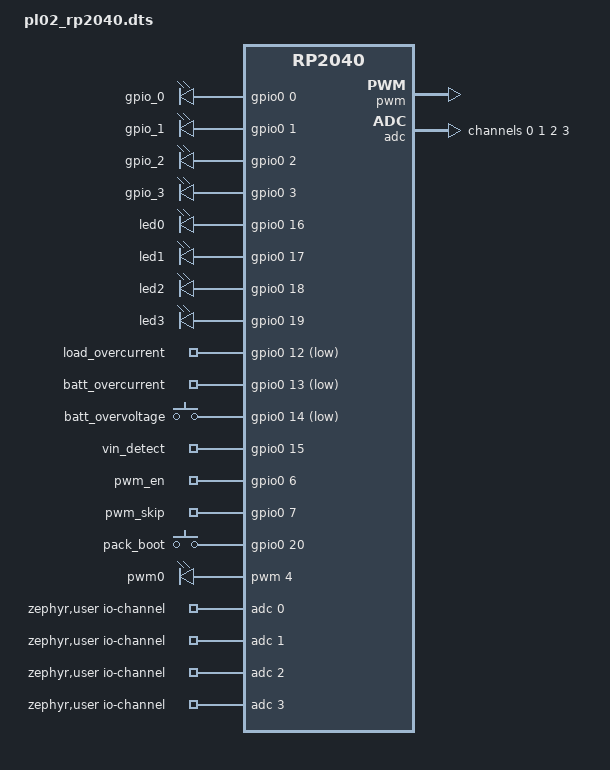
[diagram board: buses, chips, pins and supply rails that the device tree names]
/*
 * Copyright (c) 2021 Yonatan Schachter
 *
 * SPDX-License-Identifier: Apache-2.0
 */

/dts-v1/;

#include "pl02_rp2040-common.dtsi"

/ {

    spi0_bus {
        compatible = "gpio-leds";
        gpio_0: gpio_0{
            gpios = <&gpio0 0 GPIO_ACTIVE_HIGH>;
        };

        gpio_1: gpio_1{
            gpios = <&gpio0 1 GPIO_ACTIVE_HIGH>;
        };

        gpio_2: gpio_2{
            gpios = <&gpio0 2 GPIO_ACTIVE_HIGH>;
        };

        gpio_3: gpio_3{
            gpios = <&gpio0 3 GPIO_ACTIVE_HIGH>;
        };
    };

    leds {
        compatible = "gpio-leds";
        led0: led_0 {
            gpios = <&gpio0 16 GPIO_ACTIVE_HIGH>;
        };

        led1: led_1 {
            gpios = <&gpio0 17 GPIO_ACTIVE_HIGH>;
        };

        led2: led_2 {
            gpios = <&gpio0 18 GPIO_ACTIVE_HIGH>;
        };

        led3: led_3 {
            gpios = <&gpio0 19 GPIO_ACTIVE_HIGH>;
        };
    };

    errors_gpio {
        compatible = "gpio-keys";
        load_overcurrent: load_overcurrent {
            gpios = <&gpio0 12 GPIO_ACTIVE_LOW>;
        };

        batt_overcurrent: batt_overcurrent {
            gpios = <&gpio0 13 GPIO_ACTIVE_LOW>;
        };

        batt_overvoltage: batt_overvoltage {
            gpios = <&gpio0 14 GPIO_ACTIVE_LOW>;
        };
    };


    gpios {
        compatible = "gpio-keys";
        vin_detect: vin_detect {
            gpios = <&gpio0 15 GPIO_ACTIVE_HIGH>;
        };

        pwm_en: pwm_en {
            gpios = <&gpio0 6 GPIO_ACTIVE_HIGH>;
        };

        pwm_skip: pwm_skip {
            gpios = <&gpio0 7 GPIO_ACTIVE_HIGH>;
        };

        pack_boot: pack_boot {
            gpios = <&gpio0 20 GPIO_ACTIVE_HIGH>;
        };
    };

    pwm_leds {
        compatible = "pwm-leds";
        pwm0: pwm0 {
            pwms = <&pwm 4 PWM_USEC(2) PWM_POLARITY_NORMAL>;
        };
    };

    zephyr,user {
        io-channels = <&adc 0>, <&adc 1>, <&adc 2>, <&adc 3>;
    };

    aliases {
        gpio-0 = &gpio_0;
        gpio-1 = &gpio_1;
        gpio-2 = &gpio_2;
        gpio-3 = &gpio_3;
        pwm-0 = &pwm0;
        pwm-en = &pwm_en;
        pwm-skip = &pwm_skip;
        load-overcurrent-led = &led0;
        batt-overcurrent-led = &led1;
        batt-overvoltage-led = &led2;
        vin-detect = &vin_detect;
        pack-boot= &pack_boot;
    };
};

&pwm {
    status = "okay";
};

&adc {
    #address-cells = <1>;
    #size-cells = <0>;

    channel@0 {
        reg = <0>;
        zephyr,gain = "ADC_GAIN_1";
        zephyr,reference = "ADC_REF_INTERNAL";
        zephyr,acquisition-time = <ADC_ACQ_TIME_DEFAULT>;
        zephyr,resolution = <12>;
    };

    channel@1 {
        reg = <1>;
        zephyr,gain = "ADC_GAIN_1";
        zephyr,reference = "ADC_REF_INTERNAL";
        zephyr,acquisition-time = <ADC_ACQ_TIME_DEFAULT>;
        zephyr,resolution = <12>;
    };

    channel@2 {
        reg = <2>;
        zephyr,gain = "ADC_GAIN_1";
        zephyr,reference = "ADC_REF_INTERNAL";
        zephyr,acquisition-time = <ADC_ACQ_TIME_DEFAULT>;
        zephyr,resolution = <12>;
    };

    channel@3 {
        reg = <3>;
        zephyr,gain = "ADC_GAIN_1";
        zephyr,reference = "ADC_REF_INTERNAL";
        zephyr,acquisition-time = <ADC_ACQ_TIME_DEFAULT>;
        zephyr,resolution = <12>;
    };
};
